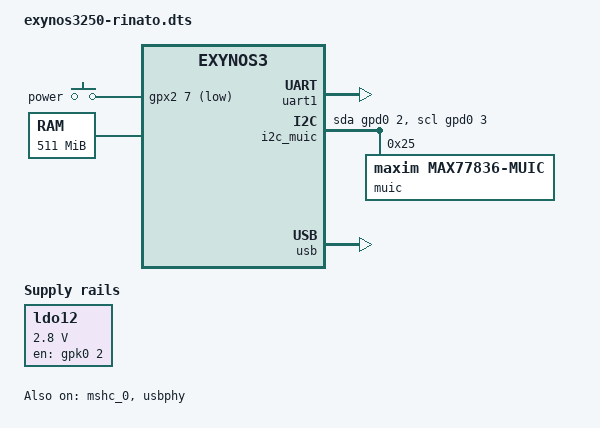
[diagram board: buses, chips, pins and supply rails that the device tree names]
// SPDX-License-Identifier: GPL-2.0+

/dts-v1/;
#include <dt-bindings/gpio/gpio.h>
#include <dt-bindings/input/linux-event-codes.h>
#include "exynos3250.dtsi"
/ {
	compatible = "samsung,rinato", "samsung,exynos3250", "samsung,exynos3";

	gpio-keys {
		compatible = "gpio-keys";

		power-key {
			label = "power";
			gpios = <&gpx2 7 GPIO_ACTIVE_LOW>;
			linux,code = <KEY_POWER>;
		};
	};

	aliases {
		console = &uart1;
		serial0 = &uart1;
		mmc0 = &mshc_0;
	};

	chosen {
		stdout-path = "/serial@13810000:115200n8";
	};

	uart1: serial@13810000 {
		compatible = "samsung,exynos4210-uart";
		reg = <0x13810000 0x100>;
		u-boot,dm-pre-reloc;
	};

	memory@40000000 {
		device_type = "memory";
		reg = <0x40000000 0x1ff00000>;
		u-boot,dm-pre-reloc;
	};

	/*
	 * The eMMC rail is PMIC LDO12, hardware-enabled by GPK0-2 (the
	 * SD0_CD pad): Linux models this with samsung,ext-control-gpios
	 * on the ldo12 PMIC regulator. We have no PMIC driver and none
	 * is needed - the rail simply follows the pin - so model it as
	 * a GPIO-controlled fixed regulator instead.
	 */
	ldo12: regulator-vldo12 {
		compatible = "regulator-fixed";
		regulator-name = "VLDO12_2.8V";
		regulator-min-microvolt = <2800000>;
		regulator-max-microvolt = <2800000>;
		gpio = <&gpk0 2 GPIO_ACTIVE_HIGH>;
		enable-active-high;
		startup-delay-us = <5000>;
	};

	/*
	 * MAX77836 MUIC lives on a GPIO-bitbanged I2C bus (gpd0-2/gpd0-3).
	 * Its CONTROL1 register (0x0c) selects where the micro-USB D+/D-
	 * pins are routed; S-Boot programs it to 0x09 (CTRL1_SW_USB) for
	 * download mode.  U-Boot must do the same so the USB gadget can
	 * enumerate on the host.
	 */
	/*
	 * Framebuffer inherited from S-Boot: FIMD is left scanning this
	 * region as a 320x320 XRGB8888 surface into the command-mode panel.
	 */
	framebuffer: framebuffer@48000000 {
		compatible = "samsung,rinato-simple";
		reg = <0x48000000 0x64000>;
		width = <320>;
		height = <320>;
		format = "x8r8g8b8";
	};

	i2c_muic: i2c-gpio-muic {
		compatible = "i2c-gpio";
		sda-gpios = <&gpd0 2 (GPIO_ACTIVE_HIGH | GPIO_OPEN_DRAIN)>;
		scl-gpios = <&gpd0 3 (GPIO_ACTIVE_HIGH | GPIO_OPEN_DRAIN)>;
		i2c-gpio,delay-us = <5>;
		#address-cells = <1>;
		#size-cells = <0>;

		muic: muic@25 {
			compatible = "maxim,max77836-muic";
			reg = <0x25>;
		};
	};
};

&fin_pll {
	clock-frequency = <24000000>;
};

&mshc_0 {
	status = "okay";
	index = <0>;
	vmmc-supply = <&ldo12>;
	/* HS 52 MHz only - fast modes are unstable on this controller. */
};

&usb {
	status = "okay";
};

&usbphy {
	status = "okay";
};
